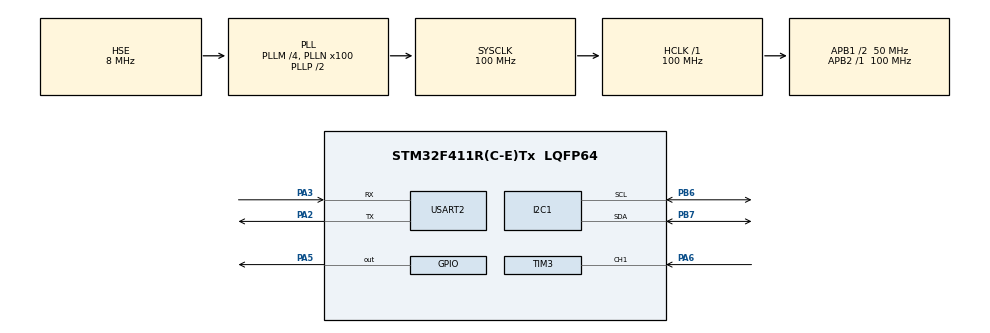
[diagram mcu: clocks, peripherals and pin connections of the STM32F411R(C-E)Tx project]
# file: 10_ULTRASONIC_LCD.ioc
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Mcu.Family=STM32F4
Mcu.Name=STM32F411R(C-E)Tx
Mcu.Package=LQFP64
NVIC.PriorityGroup=NVIC_PRIORITYGROUP_4
NVIC.TIM3_IRQn=true\:0\:0\:false\:false\:true\:true\:true\:true
NVIC.USART2_IRQn=true\:0\:0\:false\:false\:true\:true\:true\:true
PA13.Mode=Serial_Wire
PA13.Signal=SYS_JTMS-SWDIO
PA14.Mode=Serial_Wire
PA14.Signal=SYS_JTCK-SWCLK
PA2.Mode=Asynchronous
PA2.Signal=USART2_TX
PA3.Mode=Asynchronous
PA3.Signal=USART2_RX
PA5.Signal=GPIO_Output
PA6.Signal=S_TIM3_CH1
PB6.Mode=I2C
PB6.Signal=I2C1_SCL
PB7.Mode=I2C
PB7.Signal=I2C1_SDA
PH0\ -\ OSC_IN.Mode=HSE-External-Clock-Source
PH0\ -\ OSC_IN.Signal=RCC_OSC_IN
PH1\ -\ OSC_OUT.Mode=HSE-External-Clock-Source
PH1\ -\ OSC_OUT.Signal=RCC_OSC_OUT
ProjectManager.HeapSize=0x200
ProjectManager.StackSize=0x400
ProjectManager.TargetToolchain=STM32CubeIDE
RCC.48MHZClocksFreq_Value=50000000
RCC.AHBFreq_Value=100000000
RCC.APB1CLKDivider=RCC_HCLK_DIV2
RCC.APB1Freq_Value=50000000
RCC.APB1TimFreq_Value=100000000
RCC.APB2Freq_Value=100000000
RCC.APB2TimFreq_Value=100000000
RCC.CortexFreq_Value=100000000
RCC.HCLKFreq_Value=100000000
RCC.HSE_VALUE=8000000
RCC.HSI_VALUE=16000000
RCC.LSE_VALUE=32768
RCC.PLLM=4
RCC.PLLN=100
RCC.PLLSourceVirtual=RCC_PLLSOURCE_HSE
RCC.SYSCLKFreq_VALUE=100000000
RCC.SYSCLKSource=RCC_SYSCLKSOURCE_PLLCLK
RCC.VCOOutputFreq_Value=200000000
SH.S_TIM3_CH1.0=TIM3_CH1,Input_Capture1_from_TI1
TIM11.Prescaler=100-1
TIM3.Channel-Input_Capture1_from_TI1=TIM_CHANNEL_1
TIM3.Prescaler=100-1
USART2.VirtualMode=VM_ASYNC
VP_TIM11_VS_ClockSourceINT.Mode=Enable_Timer
VP_TIM3_VS_ClockSourceINT.Mode=Internal
board=custom

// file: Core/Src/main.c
/* USER CODE BEGIN Header */
/**
  ******************************************************************************
  * @file           : main.c
  * @brief          : HC-SR04 초음파 센서 + TIM Input Capture + I2C LCD 출력
  *
  * 동작 개요
  *  1) TRIG 핀에 10us 펄스를 줘서 HC-SR04 측정 시작
  *  2) ECHO 핀의 High 펄스 폭을 TIM3 CH1 Input Capture로 측정
  *     - 상승엣지: High 시작 시점 캡처
  *     - 하강엣지: High 끝 시점 캡처
  *  3) echoTime(=High 시간)을 거리(cm)로 변환 → LCD에 표시
  *
  * 중요 전제
  *  - echoTime이 "us 단위"가 되려면 TIM3의 tick이 1us가 되도록 PSC 설정이 필요
  *    (예: TIM3 clock = 100MHz라면 PSC=99 → 1MHz tick → 1us/count)
  ******************************************************************************
  */
/* USER CODE END Header */

#include "main.h"
#include "i2c.h"
#include "tim.h"
#include "usart.h"
#include "gpio.h"

/* USER CODE BEGIN Includes */
#include "stdio.h"      // sprintf 사용(거리값 문자열 변환)
#include "delay.h"      // delay_us 사용(TIM11 기반 구현일 가능성 높음)
#include "i2c_lcd.h"    // i2c_lcd_init, move_cursor, lcd_string 등 LCD 함수
/* USER CODE END Includes */

/* USER CODE BEGIN PD */

/**
 * HC-SR04 TRIG 출력 핀 정의
 * - TRIG: MCU가 10us 펄스를 출력하는 핀
 * - ECHO: 입력캡처(TIM3 CH1)로 들어오는 핀 (여기 코드엔 정의 없고 CubeMX에서 설정되어 있어야 함)
 */
#define TRIG_PORT GPIOA
#define TRIG_PIN  GPIO_PIN_5

/* USER CODE END PD */

/* USER CODE BEGIN PM */

/**
 * printf를 UART로 출력하기 위한 리타겟 설정
 * - GCC 환경에서는 __io_putchar()를 구현하면 printf가 이를 사용
 */
#ifdef __GNUC__
#define PUTCHAR_PROTOTYPE int  __io_putchar(int ch)
#else
#define PUTCHAR_PROTOTYPE int  fputc(int ch, FILE *f)
#endif /* __GNUC__*/

/**
 * @brief printf 출력문자를 USART2로 전송하는 함수
 * @details
 * - printf("...\n") 출력 시 터미널에서 줄바꿈이 정상 동작하도록
 *   '\n' 앞에 '\r'을 한 번 더 보내 CRLF 형태로 맞춤
 *
 * 코드 흐름
 *  1) ch가 '\n'이면 '\r'을 먼저 보냄
 *  2) ch 문자 자체를 UART로 전송
 *  3) 리턴 ch (표준 fputc 스타일)
 */
PUTCHAR_PROTOTYPE
{
  if(ch == '\n')
  {
    HAL_UART_Transmit(&huart2, (uint8_t*) "\r", 1, 0xFFFF);
  }

  HAL_UART_Transmit(&huart2, (uint8_t*) &ch, 1, 0xFFFF);

  // printf 내부에서 성공 여부 판단용으로 리턴해주는 게 정석
  return ch;
}

/* USER CODE END PM */

/* USER CODE BEGIN PV */

/**
 * 입력 캡처값 저장 변수
 * - IC_Value1: ECHO 상승엣지(High 시작)에서 캡처한 타이머 CNT 값
 * - IC_Value2: ECHO 하강엣지(High 종료)에서 캡처한 타이머 CNT 값
 */
uint16_t IC_Value1 = 0;
uint16_t IC_Value2 = 0;

/**
 * echoTime: ECHO가 High였던 시간(펄스폭)
 * captureFlag:
 *   0 -> 상승엣지 캡처 대기 상태
 *   1 -> 하강엣지 캡처 대기 상태
 *
 * distance:
 *   echoTime를 cm로 변환한 값
 *   주의: uint8_t라 최대 255cm까지만 표시 가능
 *
 * ※ 권장:
 * distance/echoTime 등 ISR에서 갱신되고 main에서 읽는 변수는 volatile 추천
 * 예) volatile uint8_t distance;
 */
uint16_t echoTime = 0;
uint16_t captureFlag = 0;
uint8_t  distance = 0;

/* USER CODE END PV */

void SystemClock_Config(void);

/* USER CODE BEGIN PFP */

/**
 * @brief HC-SR04 TRIG 펄스를 생성하고, CC1 인터럽트를 enable 하는 함수
 * @details
 * - HC-SR04는 TRIG에 10us High 펄스를 주면 측정을 시작
 * - 그 이후 ECHO가 High로 올라갔다 내려오며 그 High 폭이 거리 정보
 *
 * - __HAL_TIM_ENABLE_IT(&htim3, TIM_IT_CC1):
 *   이번 측정 구간에서만 CC1 인터럽트를 허용하여
 *   불필요한 인터럽트 발생(노이즈/유휴시)을 줄이는 용도
 */
void HCSR04_TRG(void)
{
  // TRIG 안정화를 위해 먼저 Low
  HAL_GPIO_WritePin(TRIG_PORT, TRIG_PIN, GPIO_PIN_RESET);
  delay_us(1);

  // TRIG High 10us 펄스
  HAL_GPIO_WritePin(TRIG_PORT, TRIG_PIN, GPIO_PIN_SET);
  delay_us(10);

  // 펄스 종료(다시 Low)
  HAL_GPIO_WritePin(TRIG_PORT, TRIG_PIN, GPIO_PIN_RESET);

  // CC1 interrupt enable: 캡처 이벤트 발생 시 콜백 들어오게 함
  __HAL_TIM_ENABLE_IT(&htim3, TIM_IT_CC1);
}

/**
 * @brief TIM Input Capture 콜백 함수
 * @details
 * - TIM3 CH1에서 캡처가 발생할 때마다 호출됨
 *
 * 동작 방식(상승→하강 두 번 캡처):
 *  1) captureFlag=0 일 때:
 *     - 상승엣지 시점의 CNT값(IC_Value1)을 저장
 *     - 다음 캡처는 하강엣지에서 잡도록 폴라리티를 FALLING으로 변경
 *
 *  2) captureFlag=1 일 때:
 *     - 하강엣지 시점의 CNT값(IC_Value2)을 저장
 *     - IC_Value2 - IC_Value1로 펄스폭 echoTime 계산(오버플로 고려)
 *     - echoTime을 거리로 변환(distance = echoTime/58)
 *     - 다음 측정을 위해 폴라리티를 RISING으로 복구
 *     - 측정이 끝났으니 CC1 인터럽트를 disable (다음 TRIG 때 다시 enable)
 */
void HAL_TIM_IC_CaptureCallback(TIM_HandleTypeDef *htim)
{
  // 현재 활성 캡처 채널이 CH1인지 확인
  if(htim->Channel == HAL_TIM_ACTIVE_CHANNEL_1)
  {
    // 1) 상승엣지 캡처 단계
    if(captureFlag == 0)
    {
      // 상승엣지에서 캡처된 타이머 CNT값 저장
      IC_Value1 = HAL_TIM_ReadCapturedValue(htim, TIM_CHANNEL_1);

      // 다음은 하강엣지를 잡을 차례
      captureFlag = 1;

      // 하강엣지 캡처로 폴라리티 변경
      __HAL_TIM_SET_CAPTUREPOLARITY(htim, TIM_CHANNEL_1, TIM_INPUTCHANNELPOLARITY_FALLING);
    }
    // 2) 하강엣지 캡처 단계
    else if(captureFlag == 1)
    {
      // 하강엣지에서 캡처된 타이머 CNT값 저장
      IC_Value2 = HAL_TIM_ReadCapturedValue(htim, TIM_CHANNEL_1);

      // 다음 측정 대비 CNT를 0으로 리셋 (선택사항이지만 재측정 안정화)
      __HAL_TIM_SET_COUNTER(htim, 0);

      // 오버플로 없이 정상적으로 증가한 경우
      if(IC_Value2 > IC_Value1)
      {
        echoTime = IC_Value2 - IC_Value1;
      }
      // 타이머가 중간에 오버플로우(0xFFFF->0) 된 경우
      else if(IC_Value1 > IC_Value2)
      {
        echoTime = (0xffff - IC_Value1) + IC_Value2;
      }

      /**
       * 거리 변환 공식
       * - HC-SR04: ECHO High 시간(us) 기준
       *   distance(cm) = echoTime / 58
       *
       * ※ echoTime이 us 단위라는 전제 하에 맞는 공식
       */
      distance = echoTime / 58;

      // 다음 측정은 다시 상승엣지부터 시작
      captureFlag = 0;

      // 폴라리티 원복(상승엣지 캡처로 변경)
      __HAL_TIM_SET_CAPTUREPOLARITY(htim, TIM_CHANNEL_1, TIM_INPUTCHANNELPOLARITY_RISING);

      // 이번 측정 완료 → CC1 인터럽트 끄기(다음 TRIG 때 켬)
      __HAL_TIM_DISABLE_IT(htim, TIM_IT_CC1);
    }
  }
}

/* USER CODE END PFP */

/* USER CODE BEGIN 0 */
/* 필요 시 사용자 함수/전역 변수 추가 영역 */
/* USER CODE END 0 */

int main(void)
{
  HAL_Init();            // HAL 및 SysTick 등 초기화
  SystemClock_Config();  // 시스템 클럭 설정

  // 주변장치 초기화(CubeMX 생성 함수)
  MX_GPIO_Init();
  MX_USART2_UART_Init();
  MX_TIM11_Init();
  MX_TIM3_Init();
  MX_I2C1_Init();

  /* USER CODE BEGIN 2 */

  /**
   * TIM11 시작: delay_us()가 TIM11 카운터 기반으로 동작한다는 전제
   * - delay_us가 busy-wait로 TIM11 CNT 변화를 보는 방식일 가능성 높음
   */
  HAL_TIM_Base_Start(&htim11);

  /**
   * TIM3 Input Capture 인터럽트 시작
   * - 채널1(ECHO)을 캡처하도록 시작
   * - 실제로는 CC1 인터럽트를 TRG 때 enable/완료 후 disable 하는 구조를 함께 사용
   */
  HAL_TIM_IC_Start_IT(&htim3, TIM_CHANNEL_1);

  // I2C LCD 초기화
  i2c_lcd_init();

  // LCD 출력용 버퍼(거리값 문자열을 담는다)
  char lcd_buf[20];

  /* USER CODE END 2 */

  while (1)
  {
    /**
     * 초음파 측정 시작
     * - TRIG 펄스 출력
     * - 이후 ECHO 상승/하강이 들어오면 인터럽트 콜백에서 distance가 갱신됨
     */
    HCSR04_TRG();

    /**
     * distance(숫자)를 문자열로 변환
     * - lcd_string은 printf가 아니라서 "완성된 문자열"만 넣어야 함
     * - sprintf로 미리 문자열을 만들어서 전달
     */
    sprintf(lcd_buf, " %3d cm", distance);

    // 1행(0행) 첫 칸에 "Distance" 출력
    move_cursor(0, 0);
    lcd_string("Distance");

    // 2행(1행) 첫 칸에 측정값 출력
    move_cursor(1, 0);
    lcd_string(lcd_buf);

    // 측정 주기(너무 짧으면 이전 측정과 겹치거나 노이즈 증가 가능)
    HAL_Delay(500);

    /* USER CODE END WHILE */

  }
}

void SystemClock_Config(void)
{
  RCC_OscInitTypeDef RCC_OscInitStruct = {0};
  RCC_ClkInitTypeDef RCC_ClkInitStruct = {0};

  /** Configure the main internal regulator output voltage
  */
  __HAL_RCC_PWR_CLK_ENABLE();
  __HAL_PWR_VOLTAGESCALING_CONFIG(PWR_REGULATOR_VOLTAGE_SCALE1);

  /** Initializes the RCC Oscillators according to the specified parameters
  * in the RCC_OscInitTypeDef structure.
  */
  RCC_OscInitStruct.OscillatorType = RCC_OSCILLATORTYPE_HSE;
  RCC_OscInitStruct.HSEState = RCC_HSE_BYPASS;
  RCC_OscInitStruct.PLL.PLLState = RCC_PLL_ON;
  RCC_OscInitStruct.PLL.PLLSource = RCC_PLLSOURCE_HSE;
  RCC_OscInitStruct.PLL.PLLM = 4;
  RCC_OscInitStruct.PLL.PLLN = 100;
  RCC_OscInitStruct.PLL.PLLP = RCC_PLLP_DIV2;
  RCC_OscInitStruct.PLL.PLLQ = 4;
  if (HAL_RCC_OscConfig(&RCC_OscInitStruct) != HAL_OK)
  {
    Error_Handler();
  }

  /** Initializes the CPU, AHB and APB buses clocks
  */
  RCC_ClkInitStruct.ClockType = RCC_CLOCKTYPE_HCLK|RCC_CLOCKTYPE_SYSCLK
                              |RCC_CLOCKTYPE_PCLK1|RCC_CLOCKTYPE_PCLK2;
  RCC_ClkInitStruct.SYSCLKSource = RCC_SYSCLKSOURCE_PLLCLK;
  RCC_ClkInitStruct.AHBCLKDivider = RCC_SYSCLK_DIV1;
  RCC_ClkInitStruct.APB1CLKDivider = RCC_HCLK_DIV2;
  RCC_ClkInitStruct.APB2CLKDivider = RCC_HCLK_DIV1;

  if (HAL_RCC_ClockConfig(&RCC_ClkInitStruct, FLASH_LATENCY_3) != HAL_OK)
  {
    Error_Handler();
  }
}

void Error_Handler(void)
{
  __disable_irq();
  while (1)
  {
  }
}
